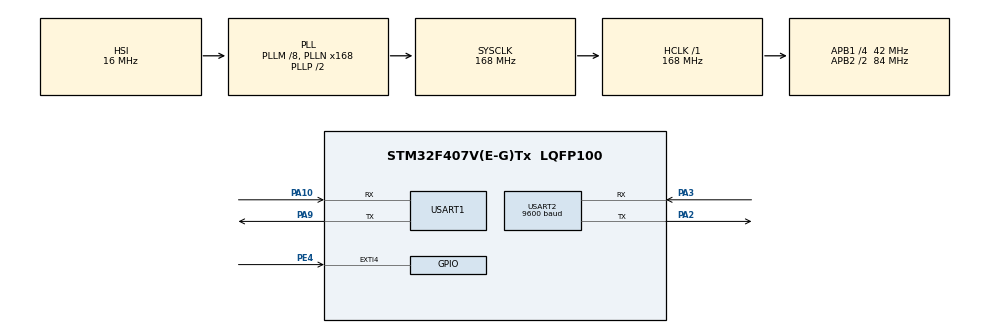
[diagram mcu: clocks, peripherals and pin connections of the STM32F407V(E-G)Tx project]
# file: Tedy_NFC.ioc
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Mcu.Family=STM32F4
Mcu.Name=STM32F407V(E-G)Tx
Mcu.Package=LQFP100
NVIC.EXTI4_IRQn=true\:2\:0\:true\:false\:true\:true
NVIC.PriorityGroup=NVIC_PRIORITYGROUP_4
NVIC.RCC_IRQn=true\:0\:0\:false\:false\:true\:true
NVIC.USART1_IRQn=true\:1\:0\:true\:false\:true\:true
NVIC.USART2_IRQn=true\:3\:0\:true\:false\:true\:true
PA10.Mode=Asynchronous
PA10.Signal=USART1_RX
PA13.Mode=Serial_Wire
PA13.Signal=SYS_JTMS-SWDIO
PA14.Mode=Serial_Wire
PA14.Signal=SYS_JTCK-SWCLK
PA2.Mode=Asynchronous
PA2.Signal=USART2_TX
PA3.Mode=Asynchronous
PA3.Signal=USART2_RX
PA9.Mode=Asynchronous
PA9.Signal=USART1_TX
PE4.GPIO_ModeDefaultEXTI=GPIO_MODE_IT_FALLING
PE4.GPIO_PuPd=GPIO_PULLUP
PE4.Signal=GPXTI4
PH0-OSC_IN.Mode=HSE-External-Oscillator
PH0-OSC_IN.Signal=RCC_OSC_IN
PH1-OSC_OUT.Mode=HSE-External-Oscillator
PH1-OSC_OUT.Signal=RCC_OSC_OUT
ProjectManager.HeapSize=0x200
ProjectManager.StackSize=0x400
ProjectManager.TargetToolchain=MDK-ARM V5
RCC.48MHZClocksFreq_Value=84000000
RCC.AHBFreq_Value=168000000
RCC.APB1CLKDivider=RCC_HCLK_DIV4
RCC.APB1Freq_Value=42000000
RCC.APB1TimFreq_Value=84000000
RCC.APB2CLKDivider=RCC_HCLK_DIV2
RCC.APB2Freq_Value=84000000
RCC.APB2TimFreq_Value=168000000
RCC.CortexFreq_Value=168000000
RCC.HCLKFreq_Value=168000000
RCC.HSE_VALUE=25000000
RCC.HSI_VALUE=16000000
RCC.LSE_VALUE=32768
RCC.PLLM=8
RCC.PLLN=168
RCC.SYSCLKFreq_VALUE=168000000
RCC.SYSCLKSource=RCC_SYSCLKSOURCE_PLLCLK
RCC.VCOOutputFreq_Value=336000000
USART1.VirtualMode=VM_ASYNC
USART2.BaudRate=9600
USART2.VirtualMode=VM_ASYNC
board=custom

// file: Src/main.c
/**
  ******************************************************************************
  * @file           : main.c
  * @brief          : Main program body
  ******************************************************************************
  ** This notice applies to any and all portions of this file
  * that are not between comment pairs USER CODE BEGIN and
  * USER CODE END. Other portions of this file, whether
  * inserted by the user or by software development tools
  * are owned by their respective copyright owners.
  *
  * COPYRIGHT(c) 2019 STMicroelectronics
  *
  * Redistribution and use in source and binary forms, with or without modification,
  * are permitted provided that the following conditions are met:
  *   1. Redistributions of source code must retain the above copyright notice,
  *      this list of conditions and the following disclaimer.
  *   2. Redistributions in binary form must reproduce the above copyright notice,
  *      this list of conditions and the following disclaimer in the documentation
  *      and/or other materials provided with the distribution.
  *   3. Neither the name of STMicroelectronics nor the names of its contributors
  *      may be used to endorse or promote products derived from this software
  *      without specific prior written permission.
  *
  * THIS SOFTWARE IS PROVIDED BY THE COPYRIGHT HOLDERS AND CONTRIBUTORS "AS IS"
  * AND ANY EXPRESS OR IMPLIED WARRANTIES, INCLUDING, BUT NOT LIMITED TO, THE
  * IMPLIED WARRANTIES OF MERCHANTABILITY AND FITNESS FOR A PARTICULAR PURPOSE ARE
  * DISCLAIMED. IN NO EVENT SHALL THE COPYRIGHT HOLDER OR CONTRIBUTORS BE LIABLE
  * FOR ANY DIRECT, INDIRECT, INCIDENTAL, SPECIAL, EXEMPLARY, OR CONSEQUENTIAL
  * DAMAGES (INCLUDING, BUT NOT LIMITED TO, PROCUREMENT OF SUBSTITUTE GOODS OR
  * SERVICES; LOSS OF USE, DATA, OR PROFITS; OR BUSINESS INTERRUPTION) HOWEVER
  * CAUSED AND ON ANY THEORY OF LIABILITY, WHETHER IN CONTRACT, STRICT LIABILITY,
  * OR TORT (INCLUDING NEGLIGENCE OR OTHERWISE) ARISING IN ANY WAY OUT OF THE USE
  * OF THIS SOFTWARE, EVEN IF ADVISED OF THE POSSIBILITY OF SUCH DAMAGE.
  *
  ******************************************************************************
  */
#include "main.h"
#include "stm32f4xx_hal.h"
#include "usart.h"
#include "gpio.h"

/* USER CODE BEGIN Includes */
#include "PN532.h"
#include "NFC_Tag.h"
#include "NDEF_Message.h"
#include "Mifare_Classic.h"
#include "FN_RM01.h"

/* USER CODE END Includes */

/* USER CODE BEGIN PV */
struct NFC_Tag tag;
int file_num;
/* Private variables ---------------------------------------------------------*/

/* USER CODE END PV */

void SystemClock_Config(void);

/* USER CODE BEGIN PFP */
/* Private function prototypes -----------------------------------------------*/

/* USER CODE END PFP */

int main(void)
{

  /* MCU Configuration----------------------------------------------------------*/

  /* Reset of all peripherals, Initializes the Flash interface and the Systick. */
  HAL_Init();

  /* Configure the system clock */
  SystemClock_Config();

  /* Initialize all configured peripherals */
  MX_GPIO_Init();
  MX_USART1_UART_Init();
  MX_USART2_UART_Init();
  /* USER CODE BEGIN 2 */
	HAL_UART_Receive_IT(&huart1,&uart1_rx_temp,1);
	HAL_UART_Receive_IT(&huart2,&uart2_rx_temp,1);
	FN_RM01_Get_File_Num(&file_num);
  PN532_WakeUp();
	PN532_SAMConfig();
	FN_RM01_Play_Sound("powe");
	tag.ndefMessage = malloc(sizeof(struct NDEF_Message));
  /* USER CODE END 2 */

  /* Infinite loop */
  while (1)
  {

  /* USER CODE BEGIN 3 */
		HAL_Delay(300);
		HAL_NVIC_DisableIRQ(EXTI4_IRQn);
		if(PN532_InListPassiveTarget(PN532_MIFARE_ISO14443A, &tag))
		{
			if(Mifare_Classic_Read(&tag))
			{
//				char *file_name = (char*)malloc(4);
//				memcpy(file_name,tag.ndefMessage->record[0].payload+3,4);
				FN_RM01_Play_Sound((char*)tag.ndefMessage->record[0].payload+3);
				HAL_Delay(500);
			}
			NFC_Clear_Tag(&tag);
		}
		HAL_NVIC_EnableIRQ(EXTI4_IRQn);
  }
  /* USER CODE END 3 */

}

void SystemClock_Config(void)
{

  RCC_OscInitTypeDef RCC_OscInitStruct;
  RCC_ClkInitTypeDef RCC_ClkInitStruct;

    /**Configure the main internal regulator output voltage
    */
  __HAL_RCC_PWR_CLK_ENABLE();

  __HAL_PWR_VOLTAGESCALING_CONFIG(PWR_REGULATOR_VOLTAGE_SCALE1);

    /**Initializes the CPU, AHB and APB busses clocks
    */
  RCC_OscInitStruct.OscillatorType = RCC_OSCILLATORTYPE_HSI;
  RCC_OscInitStruct.HSIState = RCC_HSI_ON;
  RCC_OscInitStruct.HSICalibrationValue = 16;
  RCC_OscInitStruct.PLL.PLLState = RCC_PLL_ON;
  RCC_OscInitStruct.PLL.PLLSource = RCC_PLLSOURCE_HSI;
  RCC_OscInitStruct.PLL.PLLM = 8;
  RCC_OscInitStruct.PLL.PLLN = 168;
  RCC_OscInitStruct.PLL.PLLP = RCC_PLLP_DIV2;
  RCC_OscInitStruct.PLL.PLLQ = 4;
  if (HAL_RCC_OscConfig(&RCC_OscInitStruct) != HAL_OK)
  {
    _Error_Handler(__FILE__, __LINE__);
  }

    /**Initializes the CPU, AHB and APB busses clocks
    */
  RCC_ClkInitStruct.ClockType = RCC_CLOCKTYPE_HCLK|RCC_CLOCKTYPE_SYSCLK
                              |RCC_CLOCKTYPE_PCLK1|RCC_CLOCKTYPE_PCLK2;
  RCC_ClkInitStruct.SYSCLKSource = RCC_SYSCLKSOURCE_PLLCLK;
  RCC_ClkInitStruct.AHBCLKDivider = RCC_SYSCLK_DIV1;
  RCC_ClkInitStruct.APB1CLKDivider = RCC_HCLK_DIV4;
  RCC_ClkInitStruct.APB2CLKDivider = RCC_HCLK_DIV2;

  if (HAL_RCC_ClockConfig(&RCC_ClkInitStruct, FLASH_LATENCY_5) != HAL_OK)
  {
    _Error_Handler(__FILE__, __LINE__);
  }

    /**Configure the Systick interrupt time
    */
  HAL_SYSTICK_Config(HAL_RCC_GetHCLKFreq()/1000);

    /**Configure the Systick
    */
  HAL_SYSTICK_CLKSourceConfig(SYSTICK_CLKSOURCE_HCLK);

  /* SysTick_IRQn interrupt configuration */
  HAL_NVIC_SetPriority(SysTick_IRQn, 0, 0);
}

void _Error_Handler(char *file, int line)
{
  while(1)
  {
  }
}

/************************ (C) COPYRIGHT STMicroelectronics *****END OF FILE****/
